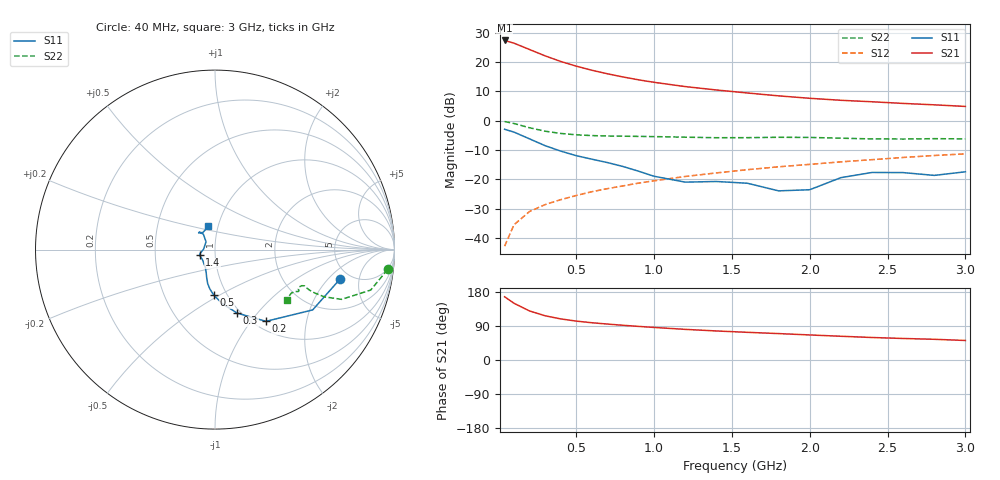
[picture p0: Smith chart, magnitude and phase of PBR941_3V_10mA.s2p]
! Filename:  PBR941E.S2P  Version:  3.0
! Philips part #:  PBR941  Date: July 1998
! Bias condition:  Vce=3V, Ic=10mA
#  MHz  S  MA  R 50
! Freq  S11  S21  S12  S22
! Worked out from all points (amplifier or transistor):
!   21 points, 40 MHz to 3 GHz, reference 50 ohm
!   highest |S21| = 27.4 dB at 40 MHz (marker M1)
!   |S21| within 3 dB of that: start of sweep to 196 MHz
!   unconditionally stable (mu >= 1): 962.1 MHz to 2.337 GHz
!   at 300 MHz: K = 0.70, MSG = 25.4 dB, |S12| = -28.6 dB
!   at 1 GHz: K = 1.01, MAG = 16.3 dB, |S12| = -20.5 dB
!   at 3 GHz: K = 0.98, MSG = 8.1 dB, |S12| = -11.3 dB
!   S11 on the Smith chart (normalised r, x): 40 MHz: 4.05, -2.75; 200 MHz: 1.13, -1.19; 300 MHz: 0.96, -0.79; 500 MHz: 0.87, -0.47; 1.4 GHz: 0.84, -0.05; 3 GHz: 0.90, +0.24
40  0.714 -13.5  23.38 166.9  0.007242 83.1  0.9681 -6.6
100  0.6396 -31.7  21.03 149.8  0.01676 77.0  0.8963 -14.6
200  0.4902 -54.6  16.39 129.4  0.02825 69.8  0.7578 -21.5
300  0.3752 -70.7  12.78 116.7  0.03707 69.3  0.6625 -23.4
400  0.3033 -82.4  10.26 108.5  0.04498 70.3  0.6066 -23.5
500  0.2534 -91.6  8.526 102.7  0.05296 71.5  0.5748 -23.2
600  0.2208 -97.5  7.264 98.4  0.06143 73.0  0.5574 -22.8
700  0.1933 -102.2  6.318 94.8  0.06938 74.2  0.5489 -22.5
800  0.1657 -106.1  5.576 91.6  0.07722 74.9  0.5441 -22.2
900  0.1378 -110.9  4.984 88.7  0.08619 75.6  0.5402 -22.1
1000  0.1128 -118.3  4.518 85.9  0.09436 76.0  0.5357 -22.1
1200  0.08958 -141.9  3.82 80.8  0.1119 76.2  0.5233 -22.6
1400  0.09187 -159.6  3.344 76.6  0.1286 76.3  0.5126 -24.0
1600  0.08573 -165.4  2.97 73.0  0.1462 76.4  0.5139 -25.3
1800  0.06358 177.7  2.655 69.7  0.1636 76.7  0.5214 -26.2
2000  0.06646 138.7  2.412 66.1  0.18 76.0  0.5186 -26.8
2200  0.1068 127.1  2.23 62.6  0.1987 75.2  0.5032 -27.6
2400  0.131 131.3  2.104 59.4  0.2164 74.7  0.4892 -29.7
2600  0.1303 134.4  1.972 56.8  0.2359 74.3  0.4872 -32.5
2800  0.1167 125.3  1.866 54.6  0.2551 73.9  0.494 -34.3
3000  0.1344 105.7  1.751 51.5  0.272 72.8  0.4897 -34.9
